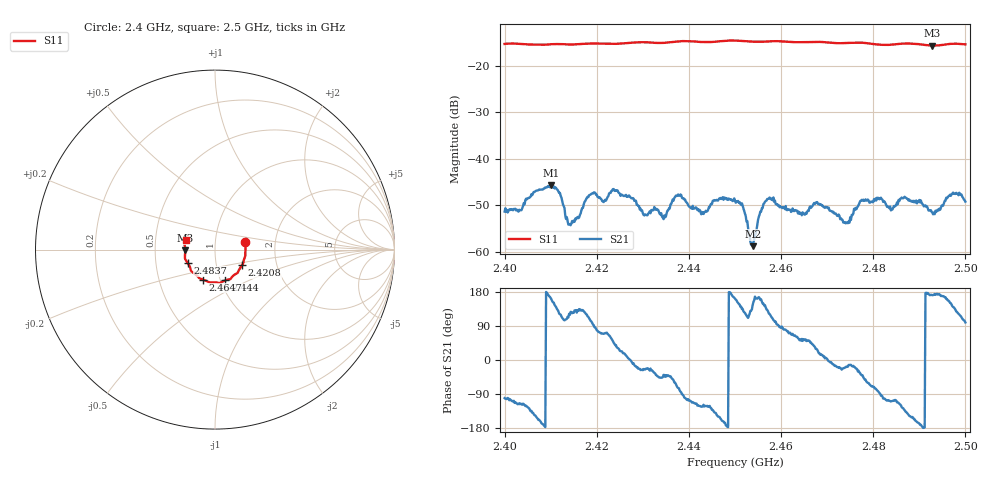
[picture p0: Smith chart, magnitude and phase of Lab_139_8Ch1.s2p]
# Hz S RI R 50
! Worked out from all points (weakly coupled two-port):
!   601 points, 2.4 GHz to 2.5 GHz, reference 50 ohm
!   highest |S21| = -45.73 dB at 2.41 GHz (marker M1); lowest = -58.8 dB at 2.4538 GHz (marker M2)
!   lowest |S11| = -15.6 dB at 2.4928 GHz (marker M3), VSWR 1.40, Z = 35.8 - j0.358 ohm
!   |S11| at or under -10 dB: start of sweep to end of sweep
!   S12 and S22 are empty: the file has one direction only
!   S11 on the Smith chart (normalised r, x): 2.4 GHz: 1.40, +0.12; 2.4208 GHz: 1.33, -0.24; 2.444 GHz: 1.06, -0.37; 2.4647 GHz: 0.83, -0.29; 2.4837 GHz: 0.73, -0.11; 2.5 GHz: 0.72, +0.08
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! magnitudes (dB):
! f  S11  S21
! 2.4 GHz  -15.3  -51.4
! 2.41 GHz  -15.3  -45.7
! 2.4138 GHz  -15.4  -54.2
! 2.4167 GHz  -15.2  -51.1
! 2.4208 GHz  -15.2  -48.6
! 2.424 GHz  -15.2  -46.9
! 2.4333 GHz  -15.0  -51.0
! 2.4378 GHz  -14.7  -47.9
! 2.444 GHz  -14.9  -51.3
! 2.45 GHz  -14.5  -49.0
! 2.4518 GHz  -14.6  -50.7
! 2.4538 GHz  -14.8  -58.8
! 2.4572 GHz  -14.7  -48.7
! 2.4647 GHz  -14.9  -51.6
! 2.4667 GHz  -14.8  -50.3
! 2.474 GHz  -15.1  -53.9
! 2.4777 GHz  -15.0  -49.0
! 2.4833 GHz  -15.5  -50.5
! 2.4837 GHz  -15.4  -50.3
! 2.4867 GHz  -15.2  -48.3
! 2.4928 GHz  -15.6  -51.6
! 2.5 GHz  -15.3  -49.2
